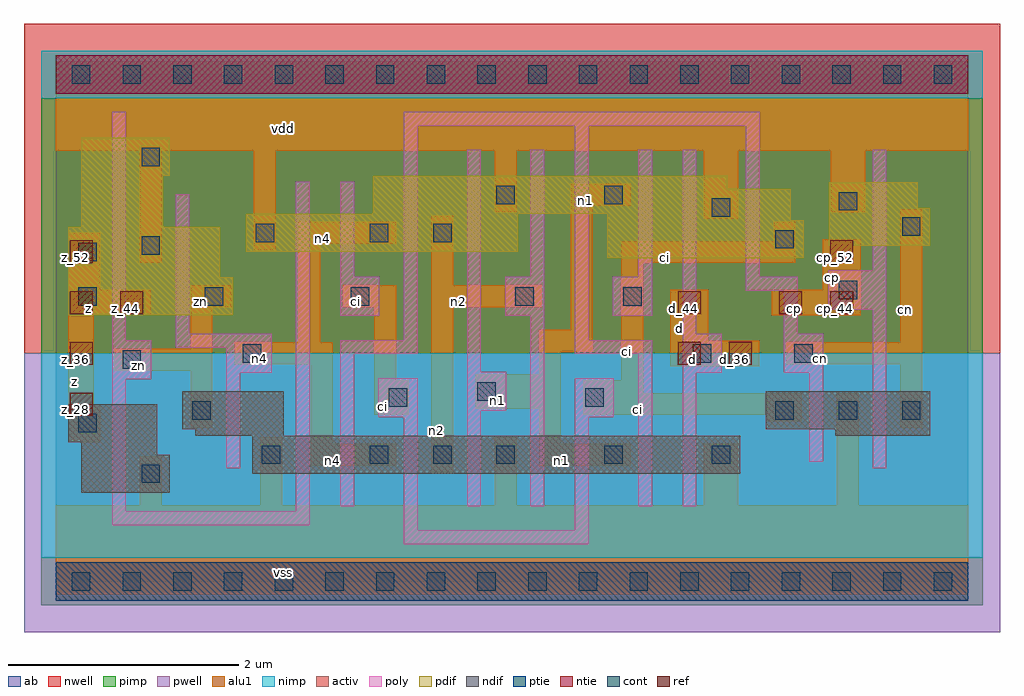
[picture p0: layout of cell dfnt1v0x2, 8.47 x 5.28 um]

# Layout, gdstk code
import gdstk
lib = gdstk.Library(unit=1e-6, precision=2.5e-09)
def R(c, l, rs):  # rectangles x0, y0, x1, y1
    for r in rs: c.add(gdstk.rectangle(r[:2], r[2:], *l))
def A(c, l, x, y, w, h, nx, ny, dx, dy):  # array of equal rectangles
    R(c, l, [(x+i*dx, y+j*dy, x+i*dx+w, y+j*dy+h) for i in range(nx) for j in range(ny)])
ndif = (3, 0)
pdif = (4, 0)
ntie = (5, 0)
ptie = (6, 0)
ref = (24, 0)
cont = (25, 0)
pwell = (41, 0)
nwell = (42, 0)
activ = (43, 0)
pimp = (44, 0)
nimp = (45, 0)
poly = (46, 0)
alu1 = (49, 0)
ab = (63, 0)

dfnt1v0x2 = lib.new_cell('dfnt1v0x2')
R(dfnt1v0x2, ndif, [(0.22,0.77,0.99,1.1), (1.705,0.935,5.94,1.265), (0.22,1.1,0.88,1.21), (0.11,1.21,0.88,1.54), (1.21,1.265,1.98,1.32), (6.765,1.265,7.59,1.32), (1.1,1.32,1.98,1.65), (6.16,1.32,7.59,1.65)])
R(dfnt1v0x2, pdif, [(0.11,2.31,1.54,2.64), (0.11,2.64,1.43,3.08), (4.785,2.805,6.49,3.135), (1.65,2.86,4.015,3.19), (6.71,2.915,7.59,3.245), (0.22,3.08,0.935,3.52), (4.785,3.135,6.38,3.19), (2.75,3.19,6.38,3.41), (6.71,3.245,7.48,3.465), (2.75,3.41,5.83,3.52), (0.22,3.52,0.99,3.85)])
R(dfnt1v0x2, ntie, [(0,4.235,7.92,4.565)])
R(dfnt1v0x2, ptie, [(0,-0.165,7.92,0.165)])
A(dfnt1v0x2, ref, 0.12, 1.44, 0.2, 0.2, 1, 4, 0, 0.44)
R(dfnt1v0x2, ref, [(5.4,1.88,5.6,2.08), (5.84,1.88,6.04,2.08), (0.56,2.32,0.76,2.52), (5.4,2.32,5.6,2.52), (6.28,2.32,6.48,2.52), (6.72,2.32,6.92,2.52), (6.72,2.76,6.92,2.96)])
A(dfnt1v0x2, cont, 0.14, -0.08, 0.16, 0.16, 18, 2, 0.44, 4.4)
A(dfnt1v0x2, cont, 2.725, 1.02, 0.16, 0.16, 3, 1, 0.55, 0)
A(dfnt1v0x2, cont, 6.245, 1.405, 0.16, 0.16, 3, 1, 0.55, 0)
R(dfnt1v0x2, cont, [(0.745,0.855,0.905,1.015), (1.79,1.02,1.95,1.18), (4.76,1.02,4.92,1.18), (5.695,1.02,5.855,1.18), (0.195,1.295,0.355,1.455), (1.185,1.405,1.345,1.565), (2.89,1.515,3.05,1.675), (4.595,1.515,4.755,1.675), (3.66,1.57,3.82,1.73), (0.58,1.845,0.74,2.005), (1.625,1.9,1.785,2.06), (5.53,1.9,5.69,2.06), (6.41,1.9,6.57,2.06), (0.195,2.395,0.355,2.555), (1.295,2.395,1.455,2.555), (2.56,2.395,2.72,2.555), (3.99,2.395,4.15,2.555), (4.925,2.395,5.085,2.555), (6.795,2.45,6.955,2.61), (0.195,2.78,0.355,2.94), (0.745,2.835,0.905,2.995), (6.245,2.89,6.405,3.05), (1.735,2.945,1.895,3.105), (2.725,2.945,2.885,3.105), (3.275,2.945,3.435,3.105), (7.345,3,7.505,3.16), (5.695,3.165,5.855,3.325), (6.795,3.22,6.955,3.38), (3.825,3.275,3.985,3.435), (4.76,3.275,4.92,3.435), (0.745,3.605,0.905,3.765)])
R(dfnt1v0x2, pwell, [(-0.275,-0.44,8.195,1.98)])
R(dfnt1v0x2, nwell, [(-0.275,1.98,8.195,4.84)])
R(dfnt1v0x2, activ, [(0,-0.165,7.92,0.165), (0.22,0.77,0.99,1.1), (1.705,0.935,5.94,1.265), (0.22,1.1,0.88,1.21), (0.11,1.21,0.88,1.54), (1.21,1.265,1.98,1.32), (6.765,1.265,7.59,1.32), (1.1,1.32,1.98,1.65), (6.16,1.32,7.59,1.65), (0.11,2.31,1.54,2.64), (0.11,2.64,1.43,3.08), (4.785,2.805,6.49,3.135), (1.65,2.86,4.015,3.19), (6.71,2.915,7.59,3.245), (0.22,3.08,0.935,3.52), (4.785,3.135,6.38,3.19), (2.75,3.19,6.38,3.41), (6.71,3.245,7.48,3.465), (2.75,3.41,5.83,3.52), (0.22,3.52,0.99,3.85), (0,4.235,7.92,4.565)])
R(dfnt1v0x2, pimp, [(-0.125,-0.205,8.045,0.205), (-0.125,1.98,8.045,4.195)])
R(dfnt1v0x2, nimp, [(-0.125,0.205,8.045,1.98), (-0.125,4.195,8.045,4.605)])
R(dfnt1v0x2, poly, [(3.02,0.325,4.625,0.445), (3.02,0.445,3.14,1.425), (4.505,0.445,4.625,1.425), (0.49,0.49,2.205,0.61), (0.49,0.61,0.61,1.755), (2.085,0.61,2.205,3.47), (2.47,0.655,2.59,1.975), (3.57,0.655,3.69,1.48), (4.12,0.655,4.24,2.305), (5.055,0.655,5.175,1.975), (5.44,0.655,5.56,1.81), (1.48,0.985,1.6,1.81), (7.09,0.985,7.21,2.36), (6.54,1.04,6.66,1.81), (2.8,1.425,3.14,1.765), (4.505,1.425,4.845,1.765), (3.57,1.48,3.91,1.82), (0.49,1.755,0.83,2.095), (1.48,1.81,1.875,2.03), (5.44,1.81,5.78,2.15), (6.32,1.81,6.66,2.15), (3.57,1.82,3.69,3.745), (2.47,1.975,3.14,2.095), (4.505,1.975,5.175,2.095), (1.04,2.03,1.875,2.15), (0.49,2.095,0.61,4.075), (3.02,2.095,3.14,3.955), (4.505,2.095,4.625,3.955), (1.04,2.15,1.16,3.36), (5.44,2.15,5.56,3.745), (6.32,2.15,6.44,2.525), (2.47,2.305,2.81,2.645), (3.9,2.305,4.24,2.645), (4.835,2.305,5.175,2.645), (6.705,2.36,7.21,2.7), (5.99,2.525,6.44,2.645), (2.47,2.645,2.59,3.47), (4.12,2.645,4.24,3.745), (5.055,2.645,5.175,3.745), (5.99,2.645,6.11,3.955), (7.09,2.7,7.21,3.745), (3.02,3.955,6.11,4.075)])
R(dfnt1v0x2, alu1, [(0,-0.11,7.92,0.66), (0.73,0.66,0.92,1.085), (1.775,0.66,1.965,1.25), (3.81,0.66,4,1.25), (5.625,0.66,5.925,1.195), (6.78,0.66,6.97,1.635), (3.26,0.95,3.45,2.38), (2.215,1.005,2.955,1.195), (4.195,1.005,4.99,1.195), (2.215,1.195,2.405,1.885), (4.195,1.195,4.385,1.5), (0.11,1.21,0.385,1.54), (1.17,1.335,1.36,1.83), (7.33,1.335,7.52,1.885), (6.175,1.39,6.475,1.445), (2.765,1.445,3.065,1.745), (4.58,1.445,6.475,1.635), (3.645,1.5,4.385,1.8), (0.11,1.54,0.33,2.31), (4.58,1.635,5.1,1.745), (2.765,1.745,2.955,2.38), (4.91,1.745,5.1,2.765), (4.195,1.8,4.385,1.995), (0.51,1.83,1.36,2.02), (5.335,1.87,6.105,2.09), (1.555,1.885,2.405,2.075), (6.34,1.885,7.52,2.075), (4.195,1.995,4.66,2.185), (1.17,2.02,1.36,2.38), (2.105,2.075,2.295,2.93), (7.33,2.075,7.52,3.23), (5.335,2.09,5.665,2.53), (4.47,2.185,4.66,3.26), (0.11,2.31,0.825,2.53), (6.215,2.31,6.985,2.53), (1.17,2.38,1.525,2.57), (2.49,2.38,2.955,2.57), (3.26,2.38,4.22,2.57), (0.11,2.53,0.385,3.025), (6.655,2.53,6.985,2.97), (3.26,2.57,3.45,3.175), (0.73,2.765,0.92,3.74), (4.91,2.765,6.42,2.955), (1.72,2.875,1.91,3.74), (2.105,2.93,2.955,3.12), (6.23,2.955,6.42,3.12), (5.625,3.15,5.925,3.74), (3.81,3.205,4,3.74), (6.725,3.205,7.025,3.74), (4.47,3.26,4.99,3.45), (0,3.74,7.92,4.51)])
R(dfnt1v0x2, ab, [(0,0,7.92,4.4)])
dfnt1v0x2.add(gdstk.Label('vss', (1.98,0.0825), layer=49, texttype=0))
dfnt1v0x2.add(gdstk.Label('n1', (4.3925,1.0525), layer=49, texttype=0))
dfnt1v0x2.add(gdstk.Label('ci', (5.0525,1.4925), layer=49, texttype=0))
dfnt1v0x2.add(gdstk.Label('cn', (6.635,1.9325), layer=49, texttype=0))
dfnt1v0x2.add(gdstk.Label('cn', (7.3775,2.3625), layer=49, texttype=0))
dfnt1v0x2.add(gdstk.Label('d', (5.5275,1.925), layer=49, texttype=0))
dfnt1v0x2.add(gdstk.Label('cp', (6.4075,2.365), layer=49, texttype=0))
dfnt1v0x2.add(gdstk.Label('d', (5.4175,2.2), layer=49, texttype=0))
dfnt1v0x2.add(gdstk.Label('cp', (6.7375,2.64), layer=49, texttype=0))
dfnt1v0x2.add(gdstk.Label('ci', (4.9575,2), layer=49, texttype=0))
dfnt1v0x2.add(gdstk.Label('n1', (3.83,1.575), layer=49, texttype=0))
dfnt1v0x2.add(gdstk.Label('ci', (5.2875,2.8125), layer=49, texttype=0))
dfnt1v0x2.add(gdstk.Label('n2', (3.3075,1.3075), layer=49, texttype=0))
dfnt1v0x2.add(gdstk.Label('n4', (2.4,1.0525), layer=49, texttype=0))
dfnt1v0x2.add(gdstk.Label('ci', (2.84,1.52), layer=49, texttype=0))
dfnt1v0x2.add(gdstk.Label('n2', (3.5,2.4275), layer=49, texttype=0))
dfnt1v0x2.add(gdstk.Label('n4', (1.7675,1.9325), layer=49, texttype=0))
dfnt1v0x2.add(gdstk.Label('zn', (0.7225,1.8775), layer=49, texttype=0))
dfnt1v0x2.add(gdstk.Label('ci', (2.605,2.4275), layer=49, texttype=0))
dfnt1v0x2.add(gdstk.Label('z', (0.165,1.7325), layer=49, texttype=0))
dfnt1v0x2.add(gdstk.Label('zn', (1.2575,2.4275), layer=49, texttype=0))
dfnt1v0x2.add(gdstk.Label('z', (0.2875,2.365), layer=49, texttype=0))
dfnt1v0x2.add(gdstk.Label('n4', (2.3175,2.9775), layer=49, texttype=0))
dfnt1v0x2.add(gdstk.Label('n1', (4.6,3.3075), layer=49, texttype=0))
dfnt1v0x2.add(gdstk.Label('vdd', (1.98,3.9325), layer=49, texttype=0))
dfnt1v0x2.add(gdstk.Label('z_44', (0.17,2.37), layer=24, texttype=0))
dfnt1v0x2.add(gdstk.Label('z_36', (0.17,1.93), layer=24, texttype=0))
dfnt1v0x2.add(gdstk.Label('z_28', (0.17,1.49), layer=24, texttype=0))
dfnt1v0x2.add(gdstk.Label('cp_52', (6.77,2.81), layer=24, texttype=0))
dfnt1v0x2.add(gdstk.Label('cp_44', (6.77,2.37), layer=24, texttype=0))
dfnt1v0x2.add(gdstk.Label('cp_44', (6.33,2.37), layer=24, texttype=0))
dfnt1v0x2.add(gdstk.Label('d_36', (5.89,1.93), layer=24, texttype=0))
dfnt1v0x2.add(gdstk.Label('d_44', (5.45,2.37), layer=24, texttype=0))
dfnt1v0x2.add(gdstk.Label('d_36', (5.45,1.93), layer=24, texttype=0))
dfnt1v0x2.add(gdstk.Label('z_52', (0.17,2.81), layer=24, texttype=0))
dfnt1v0x2.add(gdstk.Label('z_44', (0.61,2.37), layer=24, texttype=0))

lib.write_gds('dfnt1v0x2.gds')
